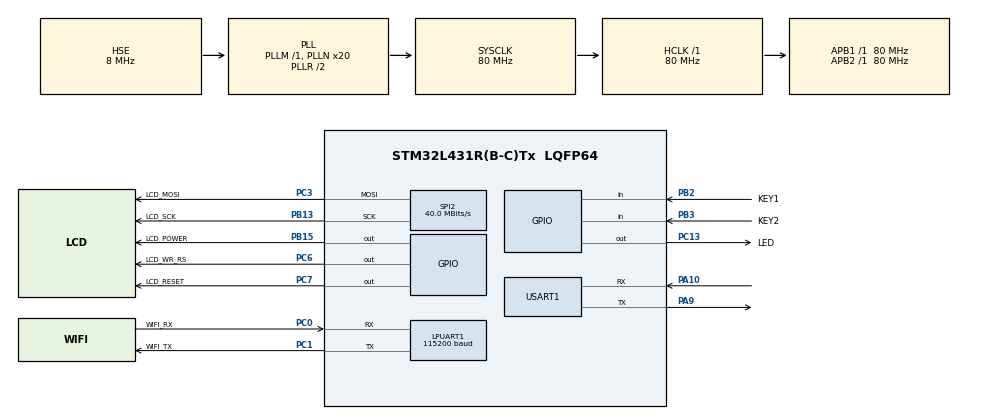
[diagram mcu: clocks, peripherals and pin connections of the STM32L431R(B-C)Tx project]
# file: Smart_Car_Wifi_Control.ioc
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Dma.LPUART_RX.0.Direction=DMA_PERIPH_TO_MEMORY
Dma.LPUART_RX.0.Instance=DMA2_Channel7
Dma.LPUART_RX.0.MemDataAlignment=DMA_MDATAALIGN_BYTE
Dma.LPUART_RX.0.MemInc=DMA_MINC_ENABLE
Dma.LPUART_RX.0.Mode=DMA_NORMAL
Dma.LPUART_RX.0.PeriphDataAlignment=DMA_PDATAALIGN_BYTE
Dma.LPUART_RX.0.PeriphInc=DMA_PINC_DISABLE
Dma.LPUART_RX.0.Priority=DMA_PRIORITY_LOW
Dma.Request0=LPUART_RX
LPUART1.BaudRate=115200
LPUART1.WordLength=UART_WORDLENGTH_8B
Mcu.Family=STM32L4
Mcu.Name=STM32L431R(B-C)Tx
Mcu.Package=LQFP64
NVIC.DMA2_Channel7_IRQn=true\:0\:0\:false\:false\:true\:false\:true
NVIC.LPUART1_IRQn=true\:0\:0\:false\:false\:true\:true\:true
NVIC.PriorityGroup=NVIC_PRIORITYGROUP_4
PA10.Mode=Asynchronous
PA10.Signal=USART1_RX
PA13\ (JTMS-SWDIO).Mode=Serial_Wire
PA13\ (JTMS-SWDIO).Signal=SYS_JTMS-SWDIO
PA14\ (JTCK-SWCLK).Mode=Serial_Wire
PA14\ (JTCK-SWCLK).Signal=SYS_JTCK-SWCLK
PA9.Mode=Asynchronous
PA9.Signal=USART1_TX
PB13.GPIO_Label=LCD_SCK
PB13.Mode=TX_Only_Simplex_Unidirect_Master
PB13.Signal=SPI2_SCK
PB15.GPIO_Label=LCD_POWER
PB15.GPIO_Speed=GPIO_SPEED_FREQ_VERY_HIGH
PB15.PinState=GPIO_PIN_SET
PB15.Signal=GPIO_Output
PB2.GPIO_Label=KEY1
PB2.GPIO_PuPd=GPIO_PULLUP
PB2.Signal=GPIO_Input
PB3\ (JTDO-TRACESWO).GPIO_Label=KEY2
PB3\ (JTDO-TRACESWO).GPIO_PuPd=GPIO_PULLUP
PB3\ (JTDO-TRACESWO).Signal=GPIO_Input
PC0.GPIO_Label=WIFI_RX
PC0.Mode=Asynchronous
PC0.Signal=LPUART1_RX
PC1.GPIO_Label=WIFI_TX
PC1.Mode=Asynchronous
PC1.Signal=LPUART1_TX
PC13.GPIO_Label=LED
PC13.Signal=GPIO_Output
PC3.GPIO_Label=LCD_MOSI
PC3.Mode=TX_Only_Simplex_Unidirect_Master
PC3.Signal=SPI2_MOSI
PC6.GPIO_Label=LCD_WR_RS
PC6.GPIO_Speed=GPIO_SPEED_FREQ_VERY_HIGH
PC6.Signal=GPIO_Output
PC7.GPIO_Label=LCD_RESET
PC7.GPIO_Speed=GPIO_SPEED_FREQ_VERY_HIGH
PC7.Signal=GPIO_Output
PH0-OSC_IN\ (PH0).Mode=HSE-External-Oscillator
PH0-OSC_IN\ (PH0).Signal=RCC_OSC_IN
PH1-OSC_OUT\ (PH1).Mode=HSE-External-Oscillator
PH1-OSC_OUT\ (PH1).Signal=RCC_OSC_OUT
ProjectManager.HeapSize=0x200
ProjectManager.StackSize=0x400
ProjectManager.TargetToolchain=MDK-ARM V5
RCC.ADCFreq_Value=32000000
RCC.AHBFreq_Value=80000000
RCC.APB1Freq_Value=80000000
RCC.APB1TimFreq_Value=80000000
RCC.APB2Freq_Value=80000000
RCC.APB2TimFreq_Value=80000000
RCC.CortexFreq_Value=80000000
RCC.HCLKFreq_Value=80000000
RCC.HSE_VALUE=8000000
RCC.HSI48_VALUE=48000000
RCC.HSI_VALUE=16000000
RCC.LSE_VALUE=32768
RCC.MSI_VALUE=4000000
RCC.PLLN=20
RCC.PLLSourceVirtual=RCC_PLLSOURCE_HSE
RCC.SYSCLKFreq_VALUE=80000000
RCC.SYSCLKSource=RCC_SYSCLKSOURCE_PLLCLK
RCC.VCOOutputFreq_Value=160000000
SPI2.BaudRatePrescaler=SPI_BAUDRATEPRESCALER_2
SPI2.CLKPhase=SPI_PHASE_2EDGE
SPI2.CLKPolarity=SPI_POLARITY_HIGH
SPI2.CalculateBaudRate=40.0 MBits/s
SPI2.DataSize=SPI_DATASIZE_8BIT
SPI2.Direction=SPI_DIRECTION_2LINES
SPI2.Mode=SPI_MODE_MASTER
SPI2.VirtualType=VM_MASTER
USART1.VirtualMode-Asynchronous=VM_ASYNC
board=custom

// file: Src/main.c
/* USER CODE BEGIN Header */
/**
  ******************************************************************************
  * @file           : main.c
  * @brief          : Main program body
  ******************************************************************************
  * @attention
  *
  * <h2><center>&copy; Copyright (c) 2020 STMicroelectronics.
  * All rights reserved.</center></h2>
  *
  * This software component is licensed by ST under BSD 3-Clause license,
  * the "License"; You may not use this file except in compliance with the
  * License. You may obtain a copy of the License at:
  *                        opensource.org/licenses/BSD-3-Clause
  *
  ******************************************************************************
  */
/* USER CODE END Header */

#include "main.h"
#include "dma.h"
#include "usart.h"
#include "spi.h"
#include "gpio.h"

/* USER CODE BEGIN Includes */
#include "lcd.h"
#include "esp8266.h"
/* USER CODE END Includes */

/* USER CODE BEGIN PV */
Button button1, button2;
__IO int wifi_connect_flag = 0;
/* USER CODE END PV */

void SystemClock_Config(void);

/* USER CODE BEGIN 0 */
uint8_t read_button1()
{
    return HAL_GPIO_ReadPin(KEY1_GPIO_Port, KEY1_Pin) ;
}

uint8_t read_button2()
{
    return HAL_GPIO_ReadPin(KEY2_GPIO_Port, KEY2_Pin) ;
}

void button1_down_callback(void *ptr)
{
    printf("按下1键\n");
    wifi_init_printf("LEFT");
}

void button1_up_callback(void *ptr)
{
    printf("释放1键\n");
    wifi_init_printf("STOP");
}

void button2_down_callback(void *ptr)
{
    printf("按下2键\n");
    wifi_init_printf("RIGHT");
}

void button2_up_callback(void *ptr)
{
    printf("释放2键\n");
    wifi_init_printf("STOP");
}
/* USER CODE END 0 */

int main(void)
{
    /* USER CODE BEGIN 1 */
    static int count = 0 ;
    /* USER CODE END 1 */

    /* MCU Configuration--------------------------------------------------------*/

    /* Reset of all peripherals, Initializes the Flash interface and the Systick. */
    HAL_Init();

    /* Configure the system clock */
    SystemClock_Config();

    /* Initialize all configured peripherals */
    MX_GPIO_Init();
    MX_DMA_Init();
    MX_LPUART1_UART_Init();
    MX_USART1_UART_Init();
    MX_SPI2_Init();
    /* USER CODE BEGIN 2 */
    LCD_Init();
    button_init(&button1, read_button1, 0);
    button_init(&button2, read_button2, 0);
    button_attach(&button1, PRESS_DOWN, button1_down_callback);
    button_attach(&button1, PRESS_UP, button1_up_callback);
    button_attach(&button2, PRESS_DOWN, button2_down_callback);
    button_attach(&button2, PRESS_UP, button2_up_callback);
    button_start(&button1);
    button_start(&button2);
    wifi_connect_flag = 0;
    LCD_Clear(BLACK);//清屏为黑色
    LCD_ShowString(50, 10, 240, 32, 32, "SmartCar");//显示字符串，字体大小32*32
    LCD_ShowString(20, 100, 240, 32, 32, "Wait Connect");//显示字符串，字体大小32*32
    WIFI_Init((uint8_t *)WIFI_HOT_SPOT_SSID, (uint8_t *)WIFI_HOT_SPOT_PASSWORD);
    /* USER CODE END 2 */

    /* Infinite loop */
    while (1)
    {

        /* USER CODE BEGIN 3 */
        ++count ;
        button_ticks();

        if(1 == wifi_connect_flag)
        {
            if(count >= 100)
            {
                count = 0 ;
                HAL_GPIO_TogglePin(LED_GPIO_Port, LED_Pin);
            }
        }

        HAL_Delay(5);
    }

    /* USER CODE END 3 */
}

void SystemClock_Config(void)
{
    RCC_OscInitTypeDef RCC_OscInitStruct = {0};
    RCC_ClkInitTypeDef RCC_ClkInitStruct = {0};
    RCC_PeriphCLKInitTypeDef PeriphClkInit = {0};

    /** Initializes the CPU, AHB and APB busses clocks
    */
    RCC_OscInitStruct.OscillatorType = RCC_OSCILLATORTYPE_HSE;
    RCC_OscInitStruct.HSEState = RCC_HSE_ON;
    RCC_OscInitStruct.PLL.PLLState = RCC_PLL_ON;
    RCC_OscInitStruct.PLL.PLLSource = RCC_PLLSOURCE_HSE;
    RCC_OscInitStruct.PLL.PLLM = 1;
    RCC_OscInitStruct.PLL.PLLN = 20;
    RCC_OscInitStruct.PLL.PLLP = RCC_PLLP_DIV7;
    RCC_OscInitStruct.PLL.PLLQ = RCC_PLLQ_DIV2;
    RCC_OscInitStruct.PLL.PLLR = RCC_PLLR_DIV2;

    if (HAL_RCC_OscConfig(&RCC_OscInitStruct) != HAL_OK)
    {
        Error_Handler();
    }

    /** Initializes the CPU, AHB and APB busses clocks
    */
    RCC_ClkInitStruct.ClockType = RCC_CLOCKTYPE_HCLK | RCC_CLOCKTYPE_SYSCLK
                                  | RCC_CLOCKTYPE_PCLK1 | RCC_CLOCKTYPE_PCLK2;
    RCC_ClkInitStruct.SYSCLKSource = RCC_SYSCLKSOURCE_PLLCLK;
    RCC_ClkInitStruct.AHBCLKDivider = RCC_SYSCLK_DIV1;
    RCC_ClkInitStruct.APB1CLKDivider = RCC_HCLK_DIV1;
    RCC_ClkInitStruct.APB2CLKDivider = RCC_HCLK_DIV1;

    if (HAL_RCC_ClockConfig(&RCC_ClkInitStruct, FLASH_LATENCY_4) != HAL_OK)
    {
        Error_Handler();
    }

    PeriphClkInit.PeriphClockSelection = RCC_PERIPHCLK_USART1 | RCC_PERIPHCLK_LPUART1;
    PeriphClkInit.Usart1ClockSelection = RCC_USART1CLKSOURCE_PCLK2;
    PeriphClkInit.Lpuart1ClockSelection = RCC_LPUART1CLKSOURCE_PCLK1;

    if (HAL_RCCEx_PeriphCLKConfig(&PeriphClkInit) != HAL_OK)
    {
        Error_Handler();
    }

    /** Configure the main internal regulator output voltage
    */
    if (HAL_PWREx_ControlVoltageScaling(PWR_REGULATOR_VOLTAGE_SCALE1) != HAL_OK)
    {
        Error_Handler();
    }
}

void Error_Handler(void)
{
}

/************************ (C) COPYRIGHT STMicroelectronics *****END OF FILE****/
